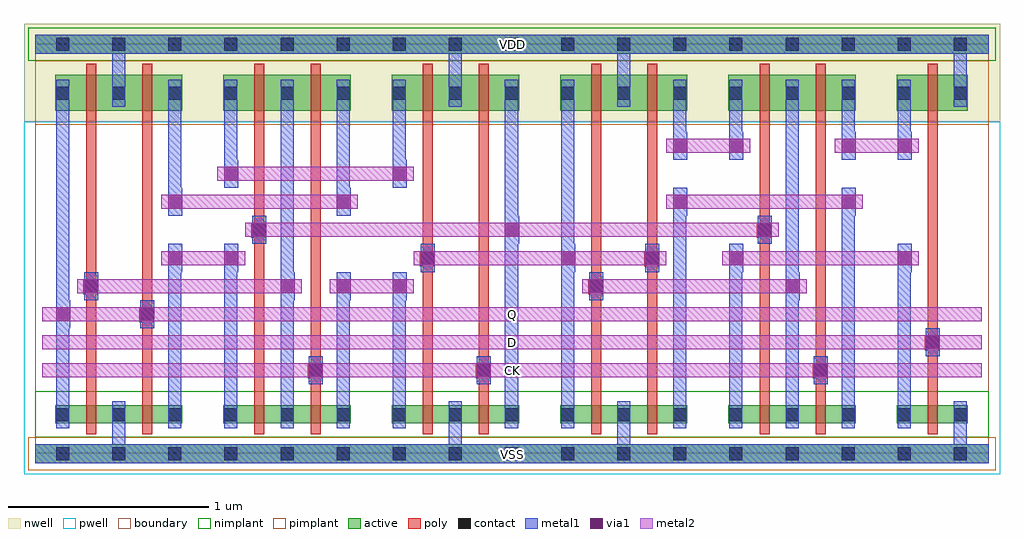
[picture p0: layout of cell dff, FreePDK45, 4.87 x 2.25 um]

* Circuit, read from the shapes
.subckt dff CK D Q VDD VSS
M1 VSS n1 Q VSS nfet w=0.09u l=0.05u
M2 n2 Q VSS VSS nfet w=0.09u l=0.05u
M3 n1 n3 n2 VSS nfet w=0.09u l=0.05u
M4 n4 CK n1 VSS nfet w=0.09u l=0.05u
M5 VSS n5 n4 VSS nfet w=0.09u l=0.05u
M6 n3 CK VSS VSS nfet w=0.09u l=0.05u
M7 VSS n6 n5 VSS nfet w=0.09u l=0.05u
M8 n7 n5 VSS VSS nfet w=0.09u l=0.05u
M9 n6 n3 n8 VSS nfet w=0.09u l=0.05u
M10 n7 CK n6 VSS nfet w=0.09u l=0.05u
M11 VSS D n8 VSS nfet w=0.09u l=0.05u
M12 VDD n1 Q VDD pfet w=0.18u l=0.05u
M13 n9 Q VDD VDD pfet w=0.18u l=0.05u
M14 n1 n3 n10 VDD pfet w=0.18u l=0.05u
M15 n9 CK n1 VDD pfet w=0.18u l=0.05u
M16 VDD n5 n10 VDD pfet w=0.18u l=0.05u
M17 n3 CK VDD VDD pfet w=0.18u l=0.05u
M18 VDD n6 n5 VDD pfet w=0.18u l=0.05u
M19 n11 n5 VDD VDD pfet w=0.18u l=0.05u
M20 n6 n3 n11 VDD pfet w=0.18u l=0.05u
M21 n12 CK n6 VDD pfet w=0.18u l=0.05u
M22 VDD D n12 VDD pfet w=0.18u l=0.05u
.ends

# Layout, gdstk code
import gdstk
lib = gdstk.Library(unit=1e-6, precision=5e-10)
def R(c, l, rs):  # rectangles x0, y0, x1, y1
    for r in rs: c.add(gdstk.rectangle(r[:2], r[2:], *l))
def A(c, l, x, y, w, h, nx, ny, dx, dy):  # array of equal rectangles
    R(c, l, [(x+i*dx, y+j*dy, x+i*dx+w, y+j*dy+h) for i in range(nx) for j in range(ny)])
active = (1, 0)
pwell = (2, 0)
nwell = (3, 0)
nimplant = (4, 0)
pimplant = (5, 0)
poly = (9, 0)
contact = (10, 0)
metal1 = (11, 0)
via1 = (12, 0)
metal2 = (13, 0)
boundary = (235, 0)

dff = lib.new_cell('dff')
A(dff, active, 0.1, 0.15, 0.635, 0.09, 5, 1, 0.84, 0)
A(dff, active, 0.1, 1.71, 0.635, 0.18, 5, 1, 0.84, 0)
R(dff, active, [(0,-0.05,4.76,0.045), (4.3,0.15,4.655,0.24), (4.3,1.71,4.655,1.89), (0,1.995,4.76,2.09)])
R(dff, pwell, [(-0.055,-0.105,4.815,1.655)])
R(dff, nwell, [(-0.055,1.655,4.815,2.145)])
R(dff, nimplant, [(0,0.08,4.76,0.31), (-0.035,1.96,4.795,2.125)])
R(dff, pimplant, [(-0.035,-0.085,4.795,0.08), (0,1.64,4.76,1.96)])
R(dff, poly, [(0.255,0.095,0.305,0.295), (0.535,0.095,0.585,0.295), (1.095,0.095,1.145,0.295), (1.375,0.095,1.425,0.295), (1.935,0.095,1.985,0.295), (2.215,0.095,2.265,0.295), (2.775,0.095,2.825,0.295), (3.055,0.095,3.105,0.295), (3.615,0.095,3.665,0.295), (3.895,0.095,3.945,0.295), (4.455,0.095,4.505,0.295), (0.255,0.295,0.305,1.655), (0.535,0.295,0.585,1.655), (1.095,0.295,1.145,1.655), (1.375,0.295,1.425,1.655), (1.935,0.295,1.985,1.655), (2.215,0.295,2.265,1.655), (2.775,0.295,2.825,1.655), (3.055,0.295,3.105,1.655), (3.615,0.295,3.665,1.655), (3.895,0.295,3.945,1.655), (4.455,0.295,4.505,1.655), (1.36,0.375,1.435,0.45), (2.2,0.375,2.275,0.45), (3.88,0.375,3.955,0.45), (4.44,0.515,4.515,0.59), (0.52,0.655,0.595,0.73), (0.24,0.795,0.315,0.87), (2.76,0.795,2.835,0.87), (1.92,0.935,1.995,1.01), (3.04,0.935,3.115,1.01), (1.08,1.075,1.155,1.15), (3.6,1.075,3.675,1.15), (0.255,1.655,0.305,1.945), (0.535,1.655,0.585,1.945), (1.095,1.655,1.145,1.945), (1.375,1.655,1.425,1.945), (1.935,1.655,1.985,1.945), (2.215,1.655,2.265,1.945), (2.775,1.655,2.825,1.945), (3.055,1.655,3.105,1.945), (3.615,1.655,3.665,1.945), (3.895,1.655,3.945,1.945), (4.455,1.655,4.505,1.945)])
A(dff, contact, 0.105, -0.035, 0.065, 0.065, 17, 2, 0.28, 0.195)
A(dff, contact, 0.105, 1.765, 0.065, 0.065, 17, 2, 0.28, 0.245)
R(dff, contact, [(1.365,0.38,1.43,0.445), (2.205,0.38,2.27,0.445), (3.885,0.38,3.95,0.445), (4.445,0.52,4.51,0.585), (0.525,0.66,0.59,0.725), (0.245,0.8,0.31,0.865), (2.765,0.8,2.83,0.865), (1.925,0.94,1.99,1.005), (3.045,0.94,3.11,1.005), (1.085,1.08,1.15,1.145), (3.605,1.08,3.67,1.145)])
A(dff, metal1, 0.105, 0.125, 0.065, 0.135, 17, 2, 0.28, 1.605)
A(dff, metal1, 1.225, 0.26, 0.065, 0.575, 3, 1, 0.28, 0)
A(dff, metal1, 2.625, 0.26, 0.065, 0.715, 3, 1, 0.84, 0)
A(dff, metal1, 1.225, 0.765, 0.07, 0.14, 3, 1, 0.28, 0)
A(dff, metal1, 2.625, 0.905, 0.07, 0.14, 3, 1, 0.42, 0)
R(dff, metal1, [(0,-0.05,4.76,0.045), (0.385,0,0.45,0.125), (2.065,0,2.13,0.125), (2.905,0,2.97,0.125), (4.585,0,4.65,0.125), (0.105,0.26,0.17,0.695), (0.665,0.26,0.73,0.975), (0.945,0.26,1.01,0.975), (2.345,0.26,2.41,1.115), (3.185,0.26,3.25,1.255), (3.745,0.26,3.81,0.835), (4.025,0.26,4.09,1.255), (1.365,0.345,1.435,0.485), (2.205,0.345,2.275,0.485), (3.885,0.345,3.955,0.485), (4.445,0.485,4.515,0.625), (0.105,0.625,0.175,0.765), (0.105,0.625,0.175,0.765), (0.525,0.625,0.595,0.765), (0.105,0.695,0.17,1.73), (0.245,0.765,0.315,0.905), (1.225,0.765,1.295,0.905), (2.765,0.765,2.835,0.905), (3.745,0.765,3.815,0.905), (3.745,0.765,3.815,0.905), (1.225,0.835,1.29,1.73), (3.745,0.835,3.81,1.73), (0.665,0.905,0.735,1.045), (0.945,0.905,1.015,1.045), (1.925,0.905,1.995,1.045), (2.625,0.905,2.695,1.045), (4.305,0.905,4.375,1.045), (2.625,0.975,2.69,1.73), (1.085,1.045,1.155,1.185), (2.345,1.045,2.415,1.185), (2.345,1.045,2.415,1.185), (3.605,1.045,3.675,1.185), (2.345,1.115,2.41,1.73), (0.665,1.185,0.735,1.325), (1.505,1.185,1.575,1.325), (3.185,1.185,3.255,1.325), (4.025,1.185,4.095,1.325), (0.665,1.255,0.73,1.73), (1.505,1.255,1.57,1.73), (0.945,1.325,1.015,1.465), (1.785,1.325,1.855,1.465), (0.945,1.395,1.01,1.73), (1.785,1.395,1.85,1.73), (3.185,1.465,3.255,1.605), (3.465,1.465,3.535,1.605), (4.025,1.465,4.095,1.605), (4.305,1.465,4.375,1.605), (3.185,1.535,3.25,1.73), (3.465,1.535,3.53,1.73), (4.025,1.535,4.09,1.73), (4.305,1.535,4.37,1.73), (0.385,1.865,0.45,2.045), (2.065,1.865,2.13,2.045), (2.905,1.865,2.97,2.045), (4.585,1.865,4.65,2.045), (0,1.995,4.76,2.09)])
A(dff, via1, 1.225, 0.8, 0.07, 0.07, 3, 1, 0.28, 0)
A(dff, via1, 2.625, 0.94, 0.07, 0.07, 3, 1, 0.42, 0)
R(dff, via1, [(1.365,0.38,1.435,0.45), (2.205,0.38,2.275,0.45), (3.885,0.38,3.955,0.45), (4.445,0.52,4.515,0.59), (0.105,0.66,0.175,0.73), (0.105,0.66,0.175,0.73), (0.525,0.66,0.595,0.73), (0.245,0.8,0.315,0.87), (1.225,0.8,1.295,0.87), (2.765,0.8,2.835,0.87), (3.745,0.8,3.815,0.87), (3.745,0.8,3.815,0.87), (0.665,0.94,0.735,1.01), (0.945,0.94,1.015,1.01), (1.925,0.94,1.995,1.01), (2.625,0.94,2.695,1.01), (4.305,0.94,4.375,1.01), (1.085,1.08,1.155,1.15), (2.345,1.08,2.415,1.15), (2.345,1.08,2.415,1.15), (3.605,1.08,3.675,1.15), (0.665,1.22,0.735,1.29), (1.505,1.22,1.575,1.29), (3.185,1.22,3.255,1.29), (4.025,1.22,4.095,1.29), (0.945,1.36,1.015,1.43), (1.785,1.36,1.855,1.43), (3.185,1.5,3.255,1.57), (3.465,1.5,3.535,1.57), (4.025,1.5,4.095,1.57), (4.305,1.5,4.375,1.57)])
A(dff, metal2, 0.035, 0.38, 4.69, 0.07, 1, 3, 0, 0.14)
A(dff, metal2, 1.19, 0.8, 0.14, 0.07, 3, 1, 0.28, 0)
A(dff, metal2, 2.59, 0.94, 0.14, 0.07, 3, 1, 0.42, 0)
R(dff, metal2, [(1.33,0.38,1.47,0.45), (2.17,0.38,2.31,0.45), (3.85,0.38,3.99,0.45), (4.41,0.52,4.55,0.59), (0.07,0.66,0.21,0.73), (0.07,0.66,0.21,0.73), (0.49,0.66,0.63,0.73), (0.21,0.8,0.35,0.87), (0.28,0.8,1.26,0.87), (1.19,0.8,1.33,0.87), (1.54,0.8,1.82,0.87), (2.73,0.8,2.87,0.87), (2.8,0.8,3.78,0.87), (3.71,0.8,3.85,0.87), (3.71,0.8,3.85,0.87), (0.63,0.94,0.77,1.01), (0.7,0.94,0.98,1.01), (0.91,0.94,1.05,1.01), (1.89,0.94,2.03,1.01), (1.96,0.94,3.08,1.01), (2.59,0.94,2.73,1.01), (3.5,0.94,4.34,1.01), (4.27,0.94,4.41,1.01), (1.05,1.08,1.19,1.15), (1.12,1.08,3.64,1.15), (2.31,1.08,2.45,1.15), (2.31,1.08,2.45,1.15), (3.57,1.08,3.71,1.15), (0.63,1.22,0.77,1.29), (0.7,1.22,1.54,1.29), (1.47,1.22,1.61,1.29), (3.15,1.22,3.29,1.29), (3.22,1.22,4.06,1.29), (3.99,1.22,4.13,1.29), (0.91,1.36,1.05,1.43), (0.98,1.36,1.82,1.43), (1.75,1.36,1.89,1.43), (3.15,1.5,3.29,1.57), (3.22,1.5,3.5,1.57), (3.43,1.5,3.57,1.57), (3.99,1.5,4.13,1.57), (4.06,1.5,4.34,1.57), (4.27,1.5,4.41,1.57)])
R(dff, boundary, [(0,0,4.76,2.045)])
dff.add(gdstk.Label('VSS', (2.38,-0.003), layer=11, texttype=1))
dff.add(gdstk.Label('VDD', (2.38,2.042), layer=11, texttype=1))
dff.add(gdstk.Label('Q', (2.38,0.695), layer=13, texttype=1))
dff.add(gdstk.Label('CK', (2.38,0.415), layer=13, texttype=1))
dff.add(gdstk.Label('D', (2.38,0.555), layer=13, texttype=1))

lib.write_gds('dff.gds')
